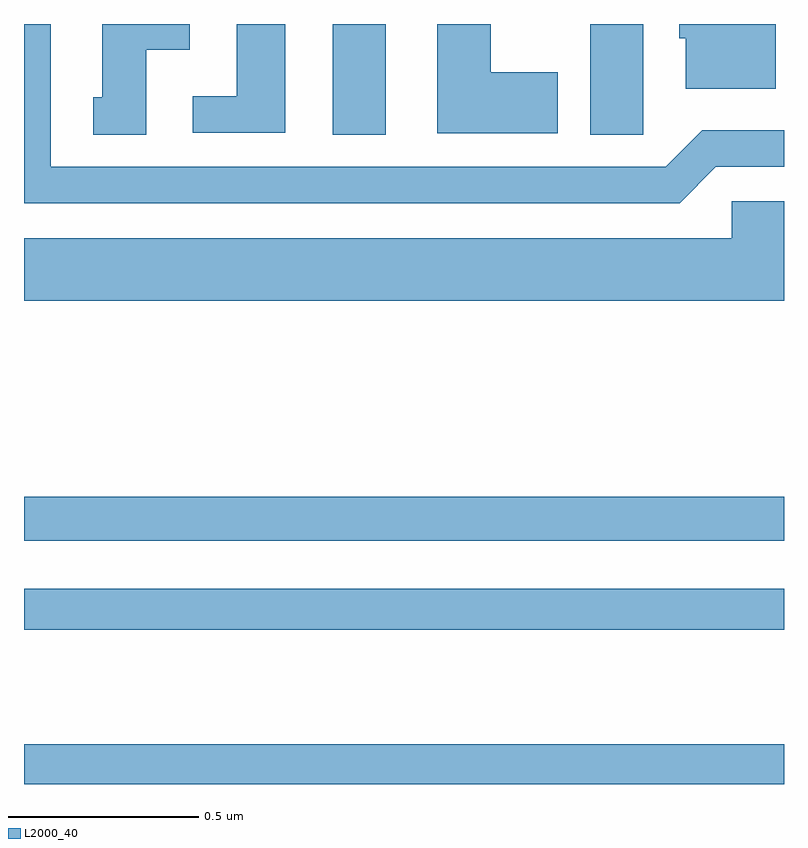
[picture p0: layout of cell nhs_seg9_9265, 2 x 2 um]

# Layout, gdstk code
import gdstk
lib = gdstk.Library(unit=1e-6, precision=1e-09)
def R(c, l, rs):  # rectangles x0, y0, x1, y1
    for r in rs: c.add(gdstk.rectangle(r[:2], r[2:], *l))
def P(c, l, *ps):  # polygons
    for p in ps: c.add(gdstk.Polygon(p, *l))
L2000_40 = (2000, 40)

nhs_seg9_9265 = lib.new_cell('nhs_seg9_9265')
R(nhs_seg9_9265, L2000_40, [(228,1176.5,230,1176.604), (228,1176.906,230,1177.014), (228,1177.14,230,1177.256), (228.812,1178.209,228.952,1178.5)])
P(nhs_seg9_9265, L2000_40, [(229.978,1178.5),(229.724,1178.5),(229.724,1178.463),(229.742,1178.463),(229.742,1178.33),(229.978,1178.33)],
  [(229.821,1178.124),(230,1178.124),(230,1178.22),(229.785,1178.22),(229.689,1178.124),(228.07,1178.124),(228.07,1178.5),(228,1178.5),(228,1178.028),(229.725,1178.028)],
  [(228.688,1178.5),(228.56,1178.5),(228.56,1178.31),(228.444,1178.31),(228.444,1178.214),(228.688,1178.214)],
  [(228.322,1178.432),(228.436,1178.432),(228.436,1178.5),(228.206,1178.5),(228.206,1178.307),(228.182,1178.307),(228.182,1178.209),(228.322,1178.209)],
  [(229.629,1178.32),(229.63,1178.32),(229.63,1178.5),(229.49,1178.5),(229.49,1178.209),(229.629,1178.209)],
  [(229.405,1178.373),(229.228,1178.373),(229.228,1178.5),(229.088,1178.5),(229.088,1178.213),(229.405,1178.213)],
  [(230,1178.034),(229.863,1178.034),(229.863,1177.936),(228,1177.936),(228,1177.772),(230,1177.772)])

lib.write_gds('nhs_seg9_9265.gds')
